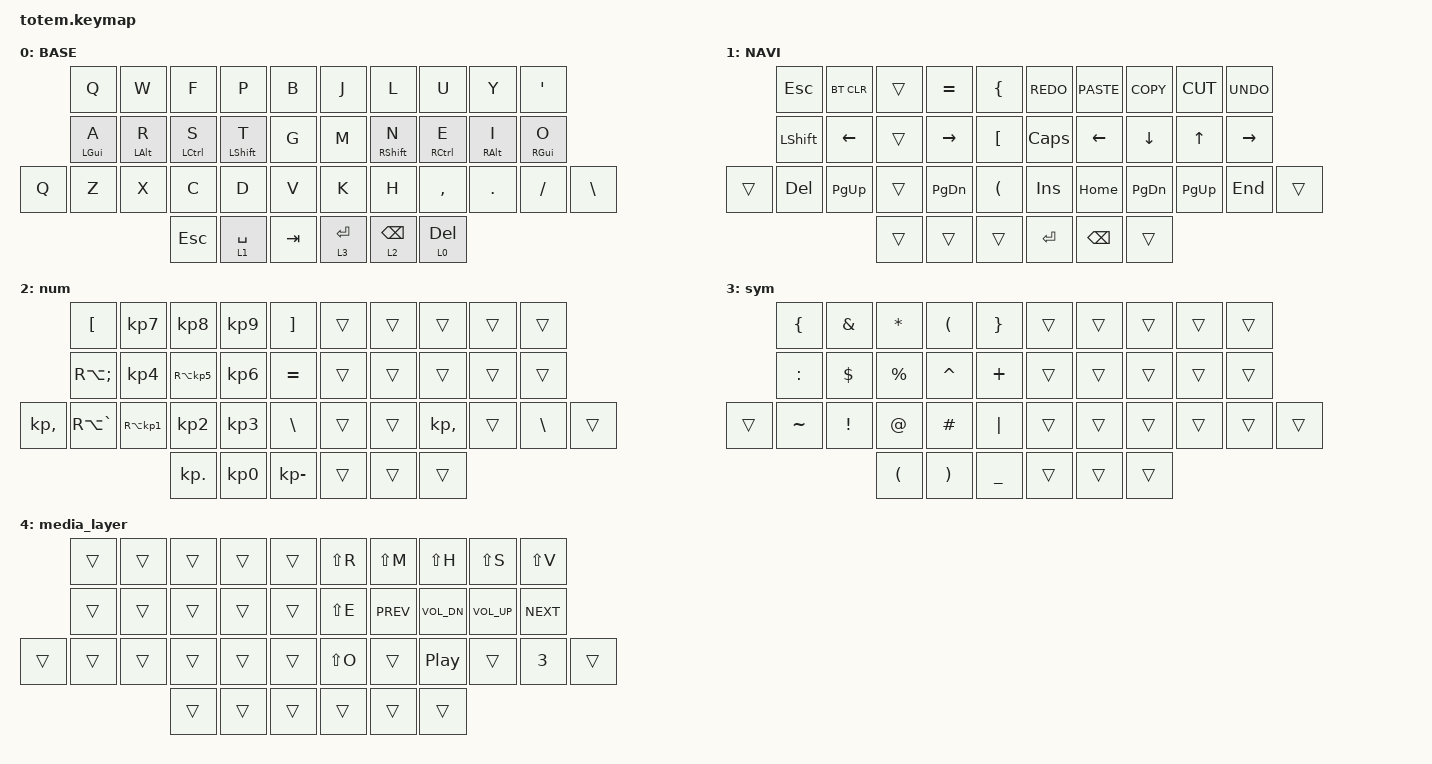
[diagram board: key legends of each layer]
//
//                                                        ▀▀▀▀▀     ▀▀▀▀▀          ▀▀█▀▀
//                                                        ▄▀▀▀▄  ▄  ▄▀▀▀▄  ▄  ▄▀▀▀▄  █  ▄▀▀▀▄
//                                                        █   █  █  █   █  █  █   █  █  █   █
//                                                         ▀▀▀   █   ▀▀▀   █   ▀▀▀   ▀   ▀▀▀
//                                                               █      ▄▄▄█▄▄▄    █   █  
//                                                               ▀      █  █  █     █▄█
//                                                             ▀▀▀▀▀    █  █  █      ▀
//                                                                      ▀  ▀  ▀
//
// ▄▄▄▄▄▄▄▄▄▄▄▄▄▄▄▄▄▄▄▄▄▄▄▄▄▄▄▄▄▄▄▄▄▄▄▄▄▄▄▄▄▄▄▄▄▄▄▄▄▄▄▄▄▄▄▄▄▄▄▄▄▄▄▄▄▄▄▄▄▄▄▄▄▄▄▄▄▄▄▄▄▄▄▄▄▄▄▄▄▄▄▄▄▄▄▄▄▄▄▄▄▄▄▄▄▄▄▄▄▄▄▄▄▄▄▄▄▄▄▄▄▄▄▄▄▄▄▄▄▄▄▄▄▄▄▄▄▄▄▄▄▄▄▄▄▄▄▄▄

#include <behaviors.dtsi>
#include <dt-bindings/zmk/bt.h>
#include <dt-bindings/zmk/keys.h>

#define BASE 0
#define NAV  1
#define SYM  2
#define ADJ  3
#define TVP1 4
#define TVP2 5

&mt {
    quick-tap-ms = <100>;
    global-quick-tap;
    flavor = "tap-preferred";
    tapping-term-ms = <170>;
};

/ {
    combos {
        compatible = "zmk,combos";

        combo_esc {
            timeout-ms = <50>;
            key-positions = <0 1>;
            bindings = <&kp ESC>;
        };

        combo_tvp {
            timeout-ms = <100>;
            key-positions = <11 12 13>;
            bindings = <&tog 0>;
        };
    };

    macros {
        gif: gif {
            label = "giphy";
            compatible = "zmk,behavior-macro";
            #binding-cells = <0>;
            bindings =
                <&macro_press>,
                <&kp LSHFT>,
                <&macro_tap>,
                <&kp N2>,
                <&macro_release>,
                <&kp LSHFT>,
                <&macro_tap>,
                <&kp G &kp I &kp F>;
        };
    };

    keymap {
        compatible = "zmk,keymap";

        // ▄▄▄▄▄▄▄▄▄▄▄▄▄▄▄▄▄▄▄▄▄▄▄▄▄▄▄▄▄▄▄▄▄▄▄▄▄▄▄▄▄▄▄▄▄▄▄▄▄▄▄▄▄▄▄▄▄▄▄▄▄▄▄▄▄▄▄▄▄▄▄▄▄▄▄▄▄▄▄▄▄▄▄▄▄▄▄▄▄▄▄▄▄▄▄▄▄▄▄▄▄▄▄▄▄▄▄▄▄▄▄▄▄▄▄▄▄▄▄▄▄▄▄▄▄▄▄▄▄▄▄▄▄▄▄▄▄▄▄▄▄▄▄▄▄▄▄▄▄

        base_layer {
            // ┏━━━━━━━━━━━━━━━━━━━━━━━━━━━━━━━━━━━━━━━┓

            label = "BASE";

            // ┗━━━━━━━━━━━━━━━━━━━━━━━━━━━━━━━━━━━━━━━┛
            //             ┏━━━━━━━━━━━┳━━━━━━━━━━━┳━━━━━━━━━━━┳━━━━━━━━━━━┳━━━━━━━━━━━┓   ┏━━━━━━━━━━━┳━━━━━━━━━━━┳━━━━━━━━━━━┳━━━━━━━━━━━┳━━━━━━━━━━━┓
            //             ┃     Q     ┃     W     ┃     F     ┃     P     ┃     G     ┃   ┃     J     ┃     L     ┃     U     ┃     Y     ┃     ;     ┃
            //             ┣━━━━━━━━━━━╋━━━━━━━━━━━╋━━━━━━━━━━━╋━━━━━━━━━━━╋━━━━━━━━━━━┫   ┣━━━━━━━━━━━╋━━━━━━━━━━━╋━━━━━━━━━━━╋━━━━━━━━━━━╋━━━━━━━━━━━┫
            //             ┃     A     ┃     R     ┃     S     ┃     T     ┃     D     ┃   ┃     H     ┃     N     ┃     E     ┃     I     ┃     O     ┃
            // ┏━━━━━━━━━━━╋━━━━━━━━━━━╋━━━━━━━━━━━╋━━━━━━━━━━━╋━━━━━━━━━━━╋━━━━━━━━━━━┫   ┣━━━━━━━━━━━╋━━━━━━━━━━━╋━━━━━━━━━━━╋━━━━━━━━━━━╋━━━━━━━━━━━╋━━━━━━━━━━━┓
            // ┃     Q     ┃     Z     ┃     X     ┃     C     ┃     V     ┃     B     ┃   ┃     K     ┃     M     ┃     ,     ┃     .     ┃     /     ┃     \     ┃
            // ┗━━━━━━━━━━━┻━━━━━━━━━━━┻━━━━━━━━━━━╋━━━━━━━━━━━╋━━━━━━━━━━━╋━━━━━━━━━━━┫   ┣━━━━━━━━━━━╋━━━━━━━━━━━╋━━━━━━━━━━━╋━━━━━━━━━━━┻━━━━━━━━━━━┻━━━━━━━━━━━┛
            //                                     ┃    DEL    ┃    TAB    ┃    SPC    ┃   ┃   ENTER   ┃           ┃   BSPC    ┃
            //                                     ┗━━━━━━━━━━━┻━━━━━━━━━━━┻━━━━━━━━━━━┛   ┗━━━━━━━━━━━┻━━━━━━━━━━━┻━━━━━━━━━━━┛

            bindings = <
       &kp Q       &kp W       &kp F        &kp P        &kp B      &kp J        &kp L            &kp U         &kp Y       &kp SINGLE_QUOTE
       &mt LGUI A  &mt LALT R  &mt LCTRL S  &mt LSHFT T  &kp G      &kp M        &mt RSHFT N      &mt RCTRL E   &mt RALT I  &mt RGUI O
&kp Q  &kp Z       &kp X       &kp C        &kp D        &kp V      &kp K        &kp H            &kp COMMA     &kp DOT     &kp FSLH          &kp BSLH
                               &kp ESCAPE   &lt 1 SPACE  &kp TAB    &lt 3 ENTER  &lt 2 BACKSPACE  &lt 0 DELETE
            >;
        };

        // ▄▄▄▄▄▄▄▄▄▄▄▄▄▄▄▄▄▄▄▄▄▄▄▄▄▄▄▄▄▄▄▄▄▄▄▄▄▄▄▄▄▄▄▄▄▄▄▄▄▄▄▄▄▄▄▄▄▄▄▄▄▄▄▄▄▄▄▄▄▄▄▄▄▄▄▄▄▄▄▄▄▄▄▄▄▄▄▄▄▄▄▄▄▄▄▄▄▄▄▄▄▄▄▄▄▄▄▄▄▄▄▄▄▄▄▄▄▄▄▄▄▄▄▄▄▄▄▄▄▄▄▄▄▄▄▄▄▄▄▄▄▄▄▄▄▄▄▄▄

        nav_layer {
            // ┏━━━━━━━━━━━━━━━━━━━━━━━━━━━━━━━━━━━━━━━┓

            label = "NAVI";

            // ┗━━━━━━━━━━━━━━━━━━━━━━━━━━━━━━━━━━━━━━━┛
            //             ┏━━━━━━━━━━━┳━━━━━━━━━━━┳━━━━━━━━━━━┳━━━━━━━━━━━┳━━━━━━━━━━━┓   ┏━━━━━━━━━━━┳━━━━━━━━━━━┳━━━━━━━━━━━┳━━━━━━━━━━━┳━━━━━━━━━━━┓
            //             ┃           ┃           ┃     UP    ┃           ┃     {     ┃   ┃     }     ┃     7     ┃     8     ┃     9     ┃     +     ┃
            //             ┣━━━━━━━━━━━╋━━━━━━━━━━━╋━━━━━━━━━━━╋━━━━━━━━━━━╋━━━━━━━━━━━┫   ┣━━━━━━━━━━━╋━━━━━━━━━━━╋━━━━━━━━━━━╋━━━━━━━━━━━╋━━━━━━━━━━━┫
            //             ┃   SHIFT   ┃   LEFT    ┃    DOWN   ┃   RIGHT   ┃     [     ┃   ┃     ]     ┃     4     ┃     5     ┃     6     ┃     -     ┃
            // ┏━━━━━━━━━━━╋━━━━━━━━━━━╋━━━━━━━━━━━╋━━━━━━━━━━━╋━━━━━━━━━━━╋━━━━━━━━━━━┫   ┣━━━━━━━━━━━╋━━━━━━━━━━━╋━━━━━━━━━━━╋━━━━━━━━━━━╋━━━━━━━━━━━╋━━━━━━━━━━━┓
            // ┃           ┃           ┃   P UP    ┃  C LOCK   ┃  P DOWN   ┃     (     ┃   ┃     )     ┃     1     ┃     2     ┃     3     ┃     *     ┃           ┃
            // ┗━━━━━━━━━━━┻━━━━━━━━━━━┻━━━━━━━━━━━╋━━━━━━━━━━━╋━━━━━━━━━━━╋━━━━━━━━━━━┫   ┣━━━━━━━━━━━╋━━━━━━━━━━━╋━━━━━━━━━━━╋━━━━━━━━━━━┻━━━━━━━━━━━┻━━━━━━━━━━━┛
            //                                     ┃           ┃    TAB    ┃    SPC    ┃   ┃    DEL    ┃     0     ┃           ┃
            //                                     ┗━━━━━━━━━━━┻━━━━━━━━━━━┻━━━━━━━━━━━┛   ┗━━━━━━━━━━━┻━━━━━━━━━━━┻━━━━━━━━━━━┛

            bindings = <
        &kp ESC    &bt BT_CLR  &trans  &kp EQUAL  &kp LBRC    &kp K_REDO    &kp K_PASTE     &kp K_COPY      &kp K_CUT     &kp K_UNDO
        &kp LSHFT  &kp LEFT    &trans  &kp RIGHT  &kp LBKT    &kp CAPSLOCK  &kp LEFT_ARROW  &kp DOWN_ARROW  &kp UP_ARROW  &kp RIGHT_ARROW
&trans  &kp DEL    &kp PG_UP   &trans  &kp PG_DN  &kp LPAR    &kp INSERT    &kp HOME        &kp PAGE_DOWN   &kp PAGE_UP   &kp END          &trans
                               &trans  &trans     &trans      &kp ENTER     &kp BACKSPACE   &trans
            >;
        };

        // ▄▄▄▄▄▄▄▄▄▄▄▄▄▄▄▄▄▄▄▄▄▄▄▄▄▄▄▄▄▄▄▄▄▄▄▄▄▄▄▄▄▄▄▄▄▄▄▄▄▄▄▄▄▄▄▄▄▄▄▄▄▄▄▄▄▄▄▄▄▄▄▄▄▄▄▄▄▄▄▄▄▄▄▄▄▄▄▄▄▄▄▄▄▄▄▄▄▄▄▄▄▄▄▄▄▄▄▄▄▄▄▄▄▄▄▄▄▄▄▄▄▄▄▄▄▄▄▄▄▄▄▄▄▄▄▄▄▄▄▄▄▄▄▄▄▄▄▄▄

        num_layer {
            // ┏━━━━━━━━━━━━━━━━━━━━━━━━━━━━━━━━━━━━━━━┓

            label = "num";

            // ┗━━━━━━━━━━━━━━━━━━━━━━━━━━━━━━━━━━━━━━━┛
            //             ┏━━━━━━━━━━━┳━━━━━━━━━━━┳━━━━━━━━━━━┳━━━━━━━━━━━┳━━━━━━━━━━━┓   ┏━━━━━━━━━━━┳━━━━━━━━━━━┳━━━━━━━━━━━┳━━━━━━━━━━━┳━━━━━━━━━━━┓
            //             ┃     !     ┃     @     ┃     #     ┃     $     ┃     %     ┃   ┃     ˆ     ┃     &     ┃     Ü     ┃     '     ┃     "     ┃
            //             ┣━━━━━━━━━━━╋━━━━━━━━━━━╋━━━━━━━━━━━╋━━━━━━━━━━━╋━━━━━━━━━━━┫   ┣━━━━━━━━━━━╋━━━━━━━━━━━╋━━━━━━━━━━━╋━━━━━━━━━━━╋━━━━━━━━━━━┫
            //             ┃     Ä     ┃           ┃    SZ     ┃           ┃           ┃   ┃   MUTE    ┃   YEN     ┃   EURO    ┃  POUND    ┃     Ö     ┃
            // ┏━━━━━━━━━━━╋━━━━━━━━━━━╋━━━━━━━━━━━╋━━━━━━━━━━━╋━━━━━━━━━━━╋━━━━━━━━━━━┫   ┣━━━━━━━━━━━╋━━━━━━━━━━━╋━━━━━━━━━━━╋━━━━━━━━━━━╋━━━━━━━━━━━╋━━━━━━━━━━━┓
            // ┃           ┃  EMAIL1   ┃  EMAIL2   ┃           ┃           ┃           ┃   ┃   VOL-    ┃   VOL+    ┃   LAST    ┃   NEXT    ┃     \     ┃           ┃
            // ┗━━━━━━━━━━━┻━━━━━━━━━━━┻━━━━━━━━━━━╋━━━━━━━━━━━╋━━━━━━━━━━━╋━━━━━━━━━━━┫   ┣━━━━━━━━━━━╋━━━━━━━━━━━╋━━━━━━━━━━━╋━━━━━━━━━━━┻━━━━━━━━━━━┻━━━━━━━━━━━┛
            //                                     ┃           ┃    GIF    ┃    ADJ    ┃   ┃           ┃           ┃           ┃
            //                                     ┗━━━━━━━━━━━┻━━━━━━━━━━━┻━━━━━━━━━━━┛   ┗━━━━━━━━━━━┻━━━━━━━━━━━┻━━━━━━━━━━━┛

            bindings = <
              &kp LEFT_BRACKET   &kp KP_NUMBER_7      &kp KP_NUMBER_8      &kp KP_NUMBER_9  &kp RIGHT_BRACKET    &trans  &trans  &trans        &trans  &trans
              &kp RA(SEMICOLON)  &kp KP_NUMBER_4      &kp RA(KP_NUMBER_5)  &kp KP_NUMBER_6  &kp EQUAL            &trans  &trans  &trans        &trans  &trans
&kp KP_COMMA  &kp RA(GRAVE)      &kp RA(KP_NUMBER_1)  &kp KP_NUMBER_2      &kp KP_NUMBER_3  &kp BACKSLASH        &trans  &trans  &kp KP_COMMA  &trans  &kp BSLH  &trans
                                                      &kp KP_DOT           &kp KP_NUMBER_0  &kp KP_MINUS         &trans  &trans  &trans
            >;
        };

        // ▄▄▄▄▄▄▄▄▄▄▄▄▄▄▄▄▄▄▄▄▄▄▄▄▄▄▄▄▄▄▄▄▄▄▄▄▄▄▄▄▄▄▄▄▄▄▄▄▄▄▄▄▄▄▄▄▄▄▄▄▄▄▄▄▄▄▄▄▄▄▄▄▄▄▄▄▄▄▄▄▄▄▄▄▄▄▄▄▄▄▄▄▄▄▄▄▄▄▄▄▄▄▄▄▄▄▄▄▄▄▄▄▄▄▄▄▄▄▄▄▄▄▄▄▄▄▄▄▄▄▄▄▄▄▄▄▄▄▄▄▄▄▄▄▄▄▄▄▄

        sym_layer {
            // ┏━━━━━━━━━━━━━━━━━━━━━━━━━━━━━━━━━━━━━━━┓

            label = "sym";

            // ┗━━━━━━━━━━━━━━━━━━━━━━━━━━━━━━━━━━━━━━━┛
            //             ┏━━━━━━━━━━━┳━━━━━━━━━━━┳━━━━━━━━━━━┳━━━━━━━━━━━┳━━━━━━━━━━━┓   ┏━━━━━━━━━━━┳━━━━━━━━━━━┳━━━━━━━━━━━┳━━━━━━━━━━━┳━━━━━━━━━━━┓
            //             ┃   RESET   ┃ BT CLEAR  ┃  OUT TOG  ┃           ┃           ┃   ┃           ┃    F7     ┃    F8     ┃    F9     ┃    F12    ┃
            //             ┣━━━━━━━━━━━╋━━━━━━━━━━━╋━━━━━━━━━━━╋━━━━━━━━━━━╋━━━━━━━━━━━┫   ┣━━━━━━━━━━━╋━━━━━━━━━━━╋━━━━━━━━━━━╋━━━━━━━━━━━╋━━━━━━━━━━━┫
            //             ┃ BOOTLOAD  ┃ BT NEXT   ┃           ┃           ┃           ┃   ┃           ┃    F4     ┃    F5     ┃    F6     ┃    F11    ┃
            // ┏━━━━━━━━━━━╋━━━━━━━━━━━╋━━━━━━━━━━━╋━━━━━━━━━━━╋━━━━━━━━━━━╋━━━━━━━━━━━┫   ┣━━━━━━━━━━━╋━━━━━━━━━━━╋━━━━━━━━━━━╋━━━━━━━━━━━╋━━━━━━━━━━━╋━━━━━━━━━━━┓
            // ┃           ┃           ┃ BT PREV   ┃           ┃           ┃           ┃   ┃           ┃    F1     ┃    F2     ┃    F3     ┃    F10    ┃           ┃
            // ┗━━━━━━━━━━━┻━━━━━━━━━━━┻━━━━━━━━━━━╋━━━━━━━━━━━╋━━━━━━━━━━━╋━━━━━━━━━━━┫   ┣━━━━━━━━━━━╋━━━━━━━━━━━╋━━━━━━━━━━━╋━━━━━━━━━━━┻━━━━━━━━━━━┻━━━━━━━━━━━┛
            //                                     ┃           ┃           ┃           ┃   ┃           ┃           ┃           ┃
            //                                     ┗━━━━━━━━━━━┻━━━━━━━━━━━┻━━━━━━━━━━━┛   ┗━━━━━━━━━━━┻━━━━━━━━━━━┻━━━━━━━━━━━┛

            bindings = <
        &kp LEFT_BRACE  &kp AMPS    &kp STAR              &kp LEFT_PARENTHESIS   &kp RIGHT_BRACE    &trans  &trans  &trans  &trans  &trans
        &kp COLON       &kp DOLLAR  &kp PERCENT           &kp CARET              &kp PLUS           &trans  &trans  &trans  &trans  &trans
&trans  &kp TILDE       &kp EXCL    &kp AT                &kp HASH               &kp PIPE           &trans  &trans  &trans  &trans  &trans  &trans
                                    &kp LEFT_PARENTHESIS  &kp RIGHT_PARENTHESIS  &kp UNDER          &trans  &trans  &trans
            >;
        };

        // ▄▄▄▄▄▄▄▄▄▄▄▄▄▄▄▄▄▄▄▄▄▄▄▄▄▄▄▄▄▄▄▄▄▄▄▄▄▄▄▄▄▄▄▄▄▄▄▄▄▄▄▄▄▄▄▄▄▄▄▄▄▄▄▄▄▄▄▄▄▄▄▄▄▄▄▄▄▄▄▄▄▄▄▄▄▄▄▄▄▄▄▄▄▄▄▄▄▄▄▄▄▄▄▄▄▄▄▄▄▄▄▄▄▄▄▄▄▄▄▄▄▄▄▄▄▄▄▄▄▄▄▄▄▄▄▄▄▄▄▄▄▄▄▄▄▄▄▄▄
        // ▄▄▄▄▄▄▄▄▄▄▄▄▄▄▄▄▄▄▄▄▄▄▄▄▄▄▄▄▄▄▄▄▄▄▄▄▄▄▄▄▄▄▄▄▄▄▄▄▄▄▄▄▄▄▄▄▄▄▄▄▄▄▄▄▄▄▄▄▄▄▄▄▄▄▄▄▄▄▄▄▄▄▄▄▄▄▄▄▄▄▄▄▄▄▄▄▄▄▄▄▄▄▄▄▄▄▄▄▄▄▄▄▄▄▄▄▄▄▄▄▄▄▄▄▄▄▄▄▄▄▄▄▄▄▄▄▄▄▄▄▄▄▄▄▄▄▄▄▄

        media_layer {
            bindings = <
        &trans  &trans  &trans  &trans  &trans    &kp LS(R)  &kp LS(M)   &kp LS(H)     &kp LS(S)        &kp LS(V)
        &trans  &trans  &trans  &trans  &trans    &kp LS(E)  &kp K_PREV  &kp C_VOL_DN  &kp C_VOLUME_UP  &kp K_NEXT
&trans  &trans  &trans  &trans  &trans  &trans    &kp LS(O)  &trans      &kp C_PP      &trans           &kp N3      &trans
                        &trans  &trans  &trans    &trans     &trans      &trans
            >;
        };
    };
};
